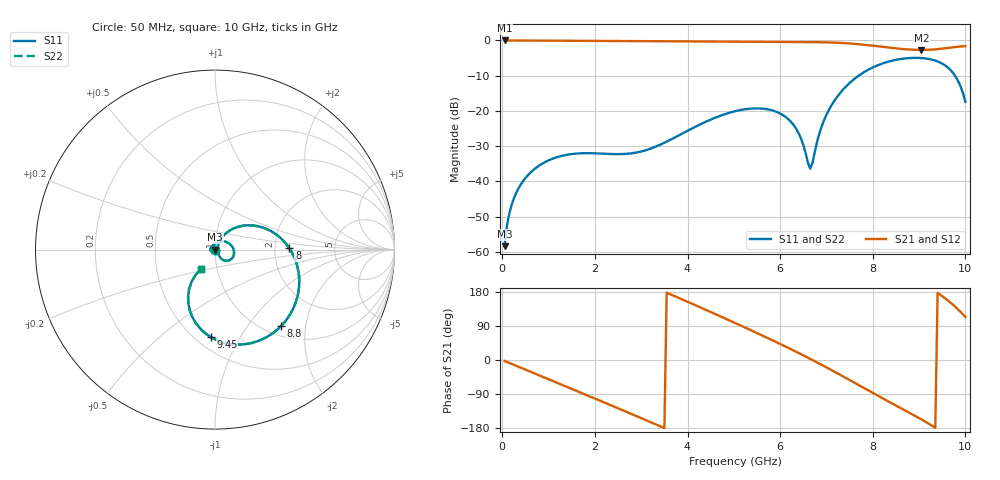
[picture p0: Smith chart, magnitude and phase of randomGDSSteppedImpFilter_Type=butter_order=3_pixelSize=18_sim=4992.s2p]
! freq	dB(S11)	phase(S11)	dB(S12)	phase(S12)
!  dB(S21)	phase(S21)	dB(S22)	phase(S22)
!S-par simulation data
#  GHz  S  DB  R 50
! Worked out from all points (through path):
!   200 points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, 50 MHz to 10 GHz, reference 50 ohm
!   highest |S21| = 0.00 dB at 50 MHz (marker M1); lowest = -2.7 dB at 9.05 GHz (marker M2)
!   group delay of S21, straight-line fit = 162 ps
!   lowest |S11| = -58.3 dB at 50 MHz (marker M3), VSWR 1.00, Z = 50 - j0.112 ohm
!   |S11| at or under -10 dB: start of sweep to 7.695 GHz; 9.775 GHz to end of sweep
!   |S22| runs from -58.0 to -4.9 dB; largest |S21 - S12| = 0
!   S11 on the Smith chart (normalised r, x): 50 MHz: 1.00, -0.00; 8 GHz: 2.41, +0.05; 8.8 GHz: 1.18, -1.47; 9.45 GHz: 0.59, -0.76; 10 GHz: 0.84, -0.19
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0.05  -58.35 -67.2  -0.00 -2.6  -0.00 -2.6  -58.05 -67.6
0.2  -46.70 -94.4  -0.02 -10.2  -0.02 -10.2  -46.72 -94.4
0.5  -39.03 -114.7  -0.04 -25.4  -0.04 -25.4  -39.05 -114.8
1.15  -33.24 -150.9  -0.07 -58.4  -0.07 -58.4  -33.24 -151.1
1.75  -31.99 176.8  -0.11 -88.9  -0.11 -88.9  -31.99 176.4
2.5  -32.24 135.9  -0.15 -127.5  -0.15 -127.5  -32.19 135.5
3.4  -29.62 89.3  -0.22 -174.4  -0.22 -174.4  -29.62 88.4
4.15  -24.61 52.0  -0.29 145.6  -0.29 145.6  -24.64 51.5
5.05  -20.00 6.1  -0.38 96.4  -0.38 96.4  -20.00 5.8
6.1  -21.53 -47.4  -0.45 36.5  -0.45 36.5  -21.53 -47.6
6.4  -26.33 -56.7  -0.45 18.5  -0.45 18.5  -26.33 -57.0
6.65  -36.39 -1.0  -0.47 3.0  -0.47 3.0  -36.46 -1.0
6.7  -34.65 31.6  -0.47 -0.2  -0.47 -0.2  -34.70 31.7
6.9  -24.25 60.6  -0.51 -12.9  -0.51 -12.9  -24.25 60.6
7.15  -17.52 52.5  -0.60 -29.3  -0.60 -29.3  -17.52 52.4
8  -7.66 1.1  -1.49 -86.9  -1.49 -86.9  -7.66 1.0
8.35  -5.96 -21.1  -2.04 -110.2  -2.04 -110.2  -5.97 -21.2
8.8  -4.99 -49.1  -2.59 -139.7  -2.59 -139.7  -4.99 -49.2
9.05  -4.99 -65.1  -2.69 -156.7  -2.69 -156.7  -4.99 -65.2
9.45  -6.24 -92.8  -2.40 172.8  -2.40 172.8  -6.24 -92.9
9.8  -10.49 -120.1  -1.82 138.2  -1.82 138.2  -10.48 -120.1
10  -17.43 -125.8  -1.64 113.4  -1.64 113.4  -17.35 -125.3
